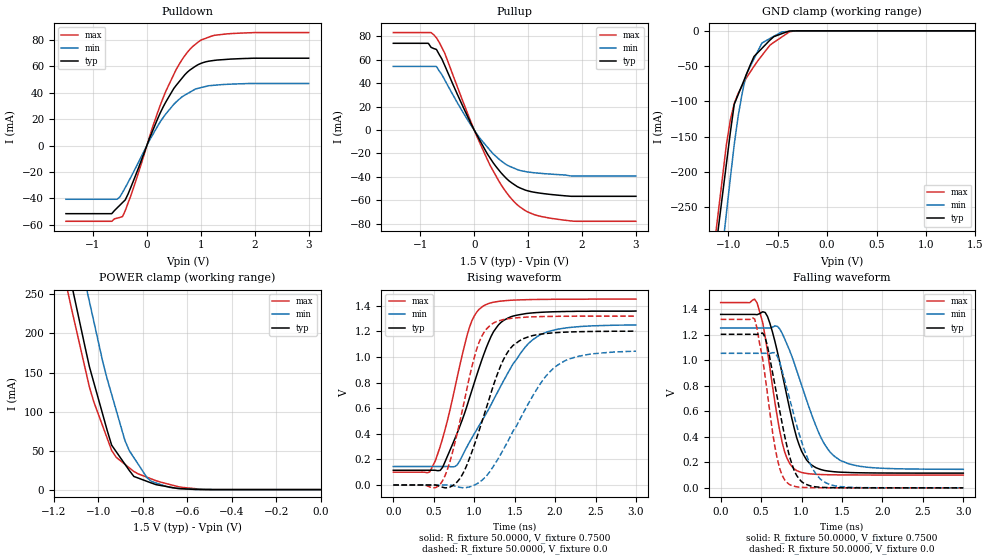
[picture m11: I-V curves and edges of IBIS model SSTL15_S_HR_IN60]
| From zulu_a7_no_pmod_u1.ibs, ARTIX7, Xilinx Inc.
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[Model]  SSTL15_S_HR_IN60
Model_type I/O
Polarity   Non-Inverting
Enable   Active-Low
Vinl = 0.65
Vinh = 0.85
Vmeas =  0.7500V
Cref =   0.0F
Rref =   50.0000
Vref =   0.7500V
C_comp   7.7pF   7.52pF   7.74pF
[Model Spec]
Vinl   0.65   0.6125   0.6875
Vinh   0.85   0.8125   0.8875
[Temperature Range]   25.0000   85.0000   0.0
[Voltage Range]   1.5000V   1.4250V   1.5750V
[Add Submodel]
| Submodel Name   Mode
IN60_1V5   Non-Driving
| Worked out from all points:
|   slope of the pulldown table from 0 to 0.225 V, typ, clamps not added: 9.96 ohm
|   slope of the pullup table from 0 to 0.225 V, typ, clamps not added: 12 ohm
|   GND clamp passes 1 mA (typ) near -0.40 V on its own axis
|   POWER clamp passes 1 mA (typ) near -0.61 V on its own axis
|   rising waveform, R_fixture 50.0000, V_fixture 0.7500: 20-80 % time 411ps typ, 604ps min, 305ps max; typ from 0.115 V to 1.36 V
|   rising waveform, R_fixture 50.0000, V_fixture 0.0: 20-80 % time 388ps typ, 569ps min, 292ps max; typ from 0 V to 1.2 V
|   falling waveform, R_fixture 50.0000, V_fixture 0.7500: 20-80 % time 271ps typ, 382ps min, 205ps max; typ from 1.36 V to 0.116 V
|   falling waveform, R_fixture 50.0000, V_fixture 0.0: 20-80 % time 230ps typ, 297ps min, 184ps max; typ from 1.2 V to 0 V
[Pulldown]
|Voltage   I(typ)   I(min)   I(max)
-1.5V     -51.63mA   -40.71mA   -57.42mA
-650mV    -51.63mA   -40.71mA   -57.42mA
-550mV    -47.23mA   -40.71mA   -55.01mA
-450mV    -43.18mA   -35.51mA   -53.76mA
-350mV    -36.88mA   -28.07mA   -43.69mA
50mV      5.504mA    4.032mA    6.676mA
350mV     32.91mA    23.84mA    41.01mA
650mV     50.97mA    36.87mA    64.95mA
950mV     61.33mA    43.42mA    78.43mA
1.25V     64.57mA    45.73mA    83.58mA
1.5V      65.41mA    46.46mA    84.73mA
3V        66.25mA    47.07mA    85.68mA
[Pullup]
|Voltage   I(typ)   I(min)   I(max)
-1.5V     74.09mA    54.32mA    83.26mA
-850mV    74.09mA    54.32mA    83.26mA
-800mV    70.66mA    54.32mA    83.26mA
-700mV    68.85mA    54.32mA    78.8mA
-550mV    55.57mA    43.15mA    66.02mA
-100mV    9.461mA    7.101mA    11.57mA
250mV     -20.77mA   -14.87mA   -25.78mA
550mV     -39.06mA   -28.03mA   -50.26mA
850mV     -49.42mA   -34.49mA   -65.7mA
1.15V     -53.36mA   -36.61mA   -72.7mA
1.65V     -55.99mA   -38.27mA   -76.79mA
3V        -56.56mA   -39.2mA    -77.9mA
[GND_clamp]
|Voltage   I(typ)   I(min)   I(max)
-1.5V     -843mA     -931.9mA   -809.3mA
-1.14V    -323.5mA   -409mA     -302.3mA
-1.1V     -278.8mA   -359.1mA   -255.6mA
-1.06V    -234mA     -309.2mA   -208.8mA
-1.02V    -189.3mA   -259.4mA   -162mA
-940mV    -104.2mA   -161mA     -102.9mA
-900mV    -90.38mA   -120.7mA   -88.44mA
-820mV    -62.82mA   -62.42mA   -67.47mA
-740mV    -36.38mA   -39.71mA   -50.26mA
-660mV    -24.84mA   -17.33mA   -34.98mA
-340mV    -95.05uA   -324uA     -401.4uA
1.5V      8.402nA    95.08nA    7.366nA
[POWER_clamp]
|Voltage   I(typ)   I(min)   I(max)
-1.5V     827.8mA    915mA      794.3mA
-1.14V    289.3mA    377.8mA    257.3mA
-1.12V    262.8mA    349.6mA    231.1mA
-1.1V     236.2mA    321.4mA    206.2mA
-1.04V    157.4mA    240.8mA    131.3mA
-980mV    96.18mA    163.7mA    81.21mA
-940mV    56.92mA    121.9mA    50.17mA
-880mV    32.42mA    62.53mA    32.34mA
-840mV    16.85mA    40.92mA    23.18mA
-780mV    10.44mA    14.91mA    15.73mA
-680mV    3.288mA    2.829mA    6.659mA
0V        8.08nA     81.45nA    8.52nA
[Ramp]
| variable   typ   min   max
dV/dt_r  0.7218/0.3900n   0.6276/0.5640n   0.7920/0.2939n
dV/dt_f  0.7529/0.2964n   0.6662/0.4264n   0.8187/0.2259n
R_load = 50.0000
[Rising Waveform]
R_fixture= 50.0000
V_fixture= 0.7500
V_fixture_min= 0.7125
V_fixture_max= 0.7875
|time   V(typ)   V(min)   V(max)
0s        115.4mV    144.7mV    100.4mV
450ps     115.4mV    144.7mV    102.5mV
610ps     139mV      144.7mV    364.7mV
790ps     406.7mV    157.7mV    842.3mV
940ps     677.1mV    333.4mV    1.23V
1.12ns    1.024V     527.5mV    1.402V
1.33ns    1.27V      775.1mV    1.438V
1.58ns    1.333V     1.036V     1.448V
1.79ns    1.349V     1.164V     1.45V
3ns       1.36V      1.251V     1.453V
[Rising Waveform]
R_fixture= 50.0000
V_fixture= 0.0
|time   V(typ)   V(min)   V(max)
0s        0V         0V         0V
610ps     -17.64mV   -29.33uV   34.18mV
730ps     -6.611mV   -3.473mV   249.9mV
880ps     113.1mV    -20.84mV   661.2mV
1.06ns    423.8mV    19.88mV    1.115V
1.21ns    723.6mV    120.1mV    1.254V
1.36ns    978.1mV    276.8mV    1.293V
1.48ns    1.091V     420.6mV    1.304V
2ns       1.191V     922.5mV    1.318V
3ns       1.203V     1.046V     1.32V
[Falling Waveform]
R_fixture= 50.0000
V_fixture= 0.7500
V_fixture_min= 0.7125
V_fixture_max= 0.7875
|time   V(typ)   V(min)   V(max)
0s        1.36V      1.254V     1.453V
450ps     1.358V     1.254V     1.45V
520ps     1.381V     1.254V     1.295V
610ps     1.288V     1.252V     935.9mV
760ps     897.3mV    1.213V     358.4mV
910ps     465.7mV    977.6mV    148.5mV
1.09ns    198.8mV    636.5mV    110.8mV
1.27ns    138.4mV    357.3mV    103.9mV
1.48ns    123mV      214.5mV    101.8mV
3ns       115.5mV    145.4mV    100.4mV
[Falling Waveform]
R_fixture= 50.0000
V_fixture= 0.0
|time   V(typ)   V(min)   V(max)
0s        1.204V     1.055V     1.321V
420ps     1.204V     1.055V     1.324V
550ps     1.18V      1.055V     872.2mV
700ps     707.5mV    1.033V     228.2mV
760ps     505.6mV    918.4mV    98.66mV
850ps     249.5mV    704.1mV    26.41mV
940ps     96.99mV    488.7mV    8.237mV
1.09ns    19.7mV     208.6mV    1.848mV
1.3ns     2.788mV    39.66mV    593.5uV
3ns       80.58uV    173.1uV    54.05uV
